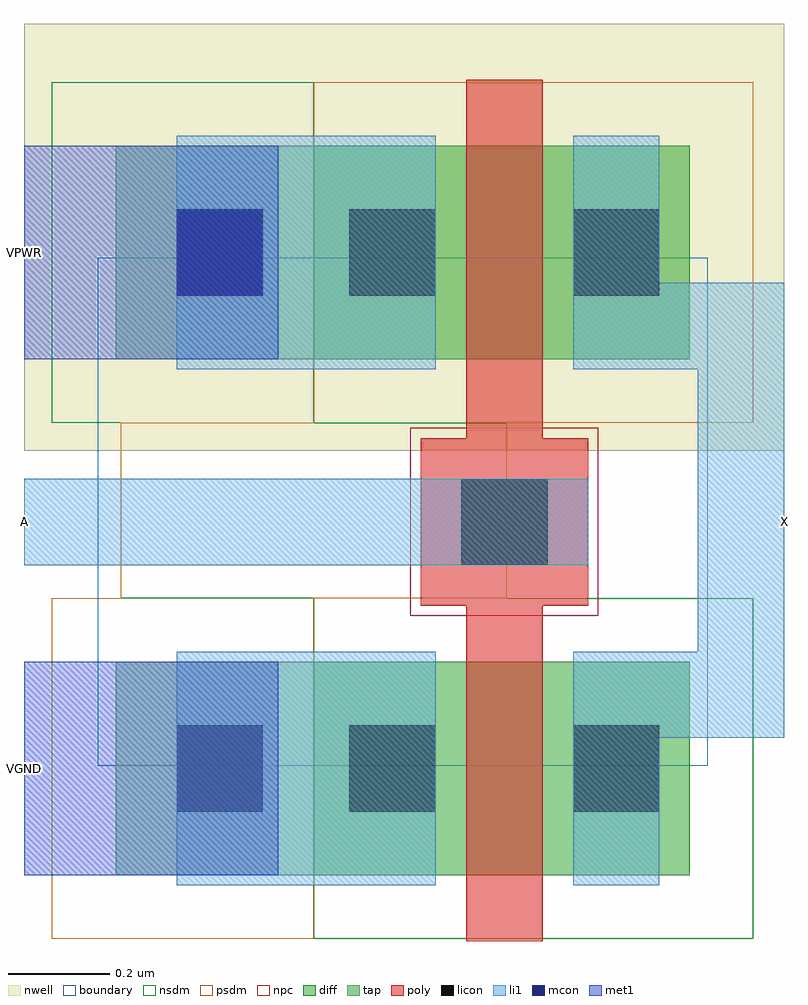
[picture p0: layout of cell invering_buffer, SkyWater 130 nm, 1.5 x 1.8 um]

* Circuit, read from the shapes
.subckt invering_buffer A VGND VPWR X
XM1 X A VSUBS VSUBS sky130_fd_pr__nfet_01v8 w=0.42 l=0.15
XM2 X A VPWR VPWR sky130_fd_pr__pfet_01v8 w=0.42 l=0.15
.ends

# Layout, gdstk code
import gdstk
lib = gdstk.Library(unit=1e-6, precision=1e-09)
def R(c, l, rs):  # rectangles x0, y0, x1, y1
    for r in rs: c.add(gdstk.rectangle(r[:2], r[2:], *l))
nwell = (64, 20)
diff = (65, 20)
tap = (65, 44)
poly = (66, 20)
licon = (66, 44)
li1 = (67, 20)
mcon = (67, 44)
met1 = (68, 20)
nsdm = (93, 44)
psdm = (94, 20)
npc = (95, 20)
boundary = (235, 4)

invering_buffer = lib.new_cell('invering_buffer')
R(invering_buffer, nwell, [(-0.945,0.47,0.55,1.31)])
R(invering_buffer, diff, [(-0.375,-0.365,0.365,0.055), (-0.375,0.65,0.365,1.07)])
R(invering_buffer, tap, [(-0.765,-0.365,-0.375,0.055), (-0.765,0.65,-0.375,1.07)])
R(invering_buffer, poly, [(-0.075,-0.495,0.075,0.165), (-0.165,0.165,0.165,0.495), (-0.075,0.495,0.075,1.2)])
R(invering_buffer, licon, [(-0.645,-0.24,-0.475,-0.07), (-0.305,-0.24,-0.135,-0.07), (0.135,-0.24,0.305,-0.07), (-0.085,0.245,0.085,0.415), (-0.645,0.775,-0.475,0.945), (-0.305,0.775,-0.135,0.945), (0.135,0.775,0.305,0.945)])
R(invering_buffer, li1, [(-0.645,-0.385,-0.135,0.075), (0.135,-0.385,0.305,-0.095), (0.135,-0.095,0.55,0.075), (0.38,0.075,0.55,0.63), (-0.945,0.245,0.165,0.415), (-0.645,0.63,-0.135,1.09), (0.135,0.63,0.55,0.8), (0.135,0.8,0.305,1.09)])
R(invering_buffer, mcon, [(-0.645,0.775,-0.475,0.945)])
R(invering_buffer, met1, [(-0.945,-0.365,-0.445,0.055), (-0.945,0.65,-0.445,1.07)])
R(invering_buffer, nsdm, [(-0.375,-0.49,0.49,0.18), (-0.755,0.18,0.005,0.525), (-0.89,0.525,-0.375,1.195)])
R(invering_buffer, psdm, [(-0.89,-0.49,-0.375,0.18), (-0.755,0.18,0.005,0.525), (-0.375,0.525,0.49,1.195)])
R(invering_buffer, npc, [(-0.185,0.145,0.185,0.515)])
R(invering_buffer, boundary, [(-0.8,-0.15,0.4,0.85)])
invering_buffer.add(gdstk.Label('A', (-0.945,0.33), layer=67, texttype=5))
invering_buffer.add(gdstk.Label('X', (0.55,0.33), layer=67, texttype=5))
invering_buffer.add(gdstk.Label('VGND', (-0.945,-0.155), layer=68, texttype=5))
invering_buffer.add(gdstk.Label('VPWR', (-0.945,0.86), layer=68, texttype=5))

lib.write_gds('invering_buffer.gds')
